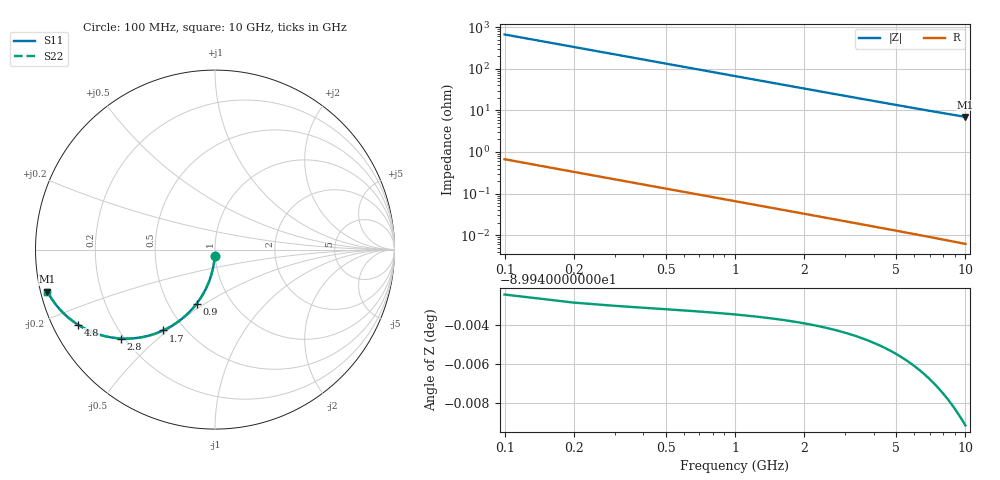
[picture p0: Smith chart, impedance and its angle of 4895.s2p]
# Hz S RI R 50.00
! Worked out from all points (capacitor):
!   100 points, 100 MHz to 10 GHz, reference 50 ohm
!   read as one part in shunt: C = 2.39 pF near 100 MHz
!   lowest |Z| = 6.98 ohm at 10 GHz (marker M1)
!   S11 on the Smith chart (normalised r, x): 100 MHz: 0.99, -0.07; 900 MHz: 0.69, -0.46; 1.7 GHz: 0.38, -0.48; 2.8 GHz: 0.19, -0.39; 4.8 GHz: 0.07, -0.26; 10 GHz: 0.02, -0.12
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1e8  -0.00141 -0.0373  0.9985 -0.0375  0.9985 -0.0375  -0.00141 -0.0373
2e8  -0.00563 -0.0743  0.9943 -0.0748  0.9943 -0.0748  -0.00563 -0.0743
3e8  -0.0126 -0.1106  0.9874 -0.1114  0.9874 -0.1114  -0.0126 -0.1106
4e8  -0.0221 -0.146  0.9779 -0.147  0.9779 -0.147  -0.0221 -0.146
5e8  -0.034 -0.1803  0.9659 -0.1815  0.9659 -0.1815  -0.034 -0.1803
6e8  -0.0483 -0.2131  0.9517 -0.2146  0.9517 -0.2146  -0.0483 -0.2131
7e8  -0.0645 -0.2443  0.9354 -0.2461  0.9354 -0.2461  -0.0645 -0.2443
9e8  -0.1022 -0.3014  0.8977 -0.3036  0.8977 -0.3036  -0.1022 -0.3014
1.1e9  -0.1453 -0.3505  0.8547 -0.3533  0.8547 -0.3533  -0.1453 -0.3505
1.3e9  -0.1917 -0.3916  0.8082 -0.3948  0.8082 -0.3948  -0.1917 -0.3916
1.7e9  -0.2883 -0.4504  0.7116 -0.4546  0.7116 -0.4546  -0.2883 -0.4504
1.8e9  -0.3123 -0.4607  0.6877 -0.4652  0.6877 -0.4652  -0.3123 -0.4607
2.3e9  -0.4254 -0.491  0.5745 -0.4968  0.5745 -0.4968  -0.4254 -0.491
2.8e9  -0.5229 -0.4954  0.477 -0.5025  0.477 -0.5025  -0.5229 -0.4954
3.4e9  -0.6175 -0.4812  0.3825 -0.4898  0.3825 -0.4898  -0.6175 -0.4812
4.1e9  -0.701 -0.452  0.2989 -0.4625  0.2989 -0.4625  -0.701 -0.452
4.8e9  -0.7626 -0.4188  0.2373 -0.4311  0.2373 -0.4311  -0.7626 -0.4188
5.1e9  -0.7838 -0.4045  0.2161 -0.4177  0.2161 -0.4177  -0.7838 -0.4045
5.8e9  -0.8242 -0.3726  0.1756 -0.3876  0.1756 -0.3876  -0.8242 -0.3726
6.7e9  -0.8622 -0.3353  0.1376 -0.3527  0.1376 -0.3527  -0.8622 -0.3353
8.4e9  -0.9079 -0.2774  0.0918 -0.2994  0.0918 -0.2994  -0.9079 -0.2774
1e10  -0.9335 -0.235  0.0661 -0.2616  0.0661 -0.2616  -0.9335 -0.235
